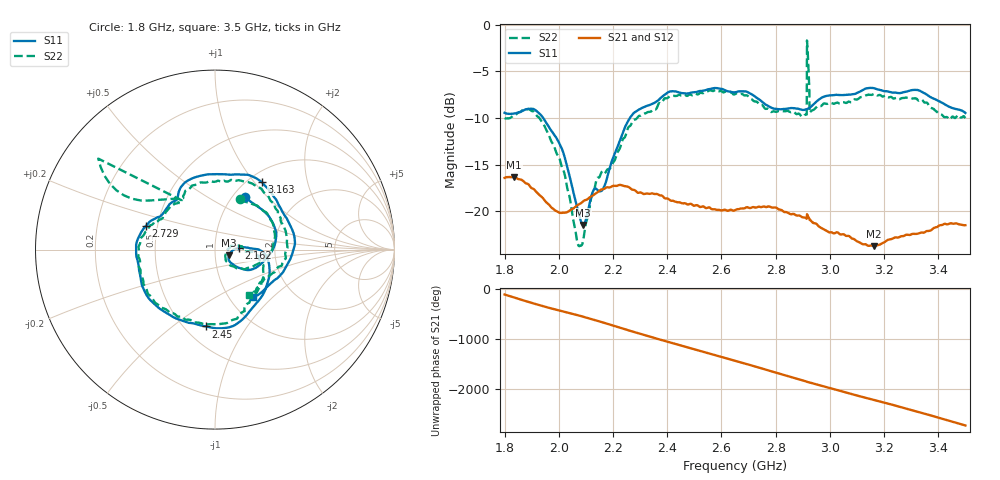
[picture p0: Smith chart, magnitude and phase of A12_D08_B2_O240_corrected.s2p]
! Created with skrf 1.9.0 (http://scikit-rf.org).
# Hz S RI R 50.0
!freq ReS11 ImS11 ReS21 ImS21 ReS12 ImS12 ReS22 ImS22
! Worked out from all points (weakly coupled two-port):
!   1601 points, 1.8 GHz to 3.5 GHz, reference 50 ohm
!   highest |S21| = -16.31 dB at 1.835 GHz (marker M1); lowest = -23.7 dB at 3.162 GHz (marker M2)
!   lowest |S11| = -21.5 dB at 2.09 GHz (marker M3), VSWR 1.18, Z = 58.3 - j3.78 ohm
!   |S11| at or under -10 dB: 1.943 GHz to 2.262 GHz (319.4 MHz wide, 15.2 % of centre)
!   |S22| runs from -23.7 to -1.7 dB; largest |S21 - S12| = 0.0029
!   S11 on the Smith chart (normalised r, x): 1.8 GHz: 1.13, +0.75; 2.162 GHz: 1.30, +0.02; 2.45 GHz: 0.63, -0.67; 2.729 GHz: 0.43, +0.14; 3.163 GHz: 1.15, +1.09; 3.5 GHz: 1.27, -0.76
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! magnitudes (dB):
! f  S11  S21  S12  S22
! 1.8 GHz  -9.4  -16.4  -16.4  -10.0
! 1.835 GHz  -9.5  -16.3  -16.3  -9.7
! 1.895 GHz  -9.0  -17.4  -17.3  -9.1
! 1.951 GHz  -10.4  -18.9  -18.9  -11.1
! 2.014 GHz  -13.5  -20.2  -20.2  -15.4
! 2.068 GHz  -19.6  -19.4  -19.4  -23.2
! 2.084 GHz  -21.2  -19.1  -19.0  -23.7
! 2.09 GHz  -21.5  -18.9  -19.0  -23.1
! 2.128 GHz  -17.7  -18.2  -18.3  -17.9
! 2.162 GHz  -17.6  -17.6  -17.6  -15.7
! 2.261 GHz  -10.0  -17.5  -17.5  -10.9
! 2.367 GHz  -8.1  -18.2  -18.2  -8.5
! 2.45 GHz  -7.3  -19.1  -19.1  -7.6
! 2.65 GHz  -7.2  -19.9  -19.9  -7.4
! 2.729 GHz  -7.8  -19.6  -19.6  -8.2
! 2.903 GHz  -9.1  -20.6  -20.7  -9.8
! 2.924 GHz  -8.9  -20.8  -20.8  -6.8
! 2.934 GHz  -8.7  -21.1  -21.1  -9.2
! 3.162 GHz  -6.8  -23.7  -23.7  -7.4
! 3.163 GHz  -6.8  -23.7  -23.7  -7.4
! 3.217 GHz  -7.2  -23.0  -23.0  -7.8
! 3.5 GHz  -9.5  -21.5  -21.5  -10.0
